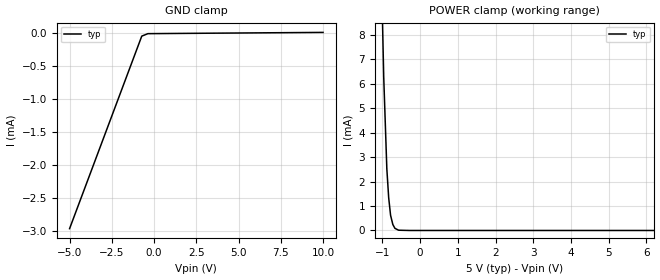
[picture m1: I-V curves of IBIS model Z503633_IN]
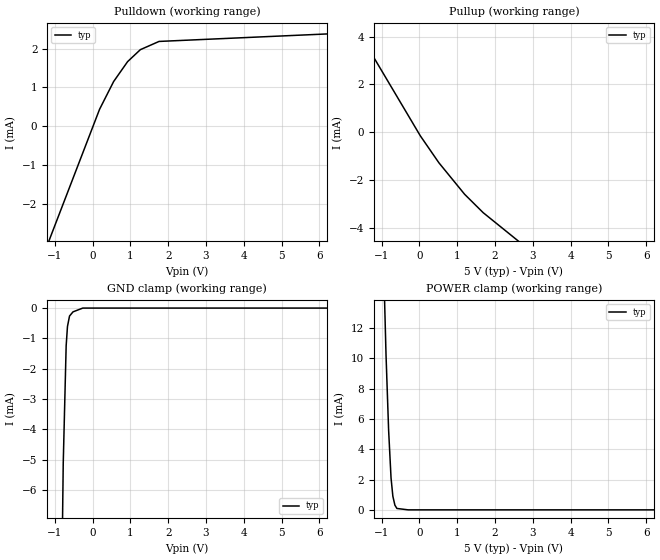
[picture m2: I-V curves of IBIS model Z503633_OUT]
| YOU ARE ONLY AUTHORIZED TO USE THIS SOFTWARE
| ACCORDING TO LICENSOR'S LICENSE RESTRICTIONS.
[IBIS Ver] 3.1
[File Name] mc14519bcl.ibs
[File Rev] 2.0
[Source] Measured and created by ICX Technology
[Date] Friday 7/14/00 9:07:56 AM
[Copyright]
| (C) COPYRIGHT 1993-2000
| MENTOR GRAPHICS CORPORATION
| ICX STANDARD LIBRARY, ICX PROJECT MODELING,
| ICX CUSTOM MODELING, ICX VENDOR MODEL
| ALL RIGHTS RESERVED.
| THE FOLLOWING ARE TRADEMARKS OR SERVICE MARKS OF
| MENTOR GRAPHICS CORPORATION:ICX (R), ICX STANDARD
| LIBRARY(R), ICX PROJECT MODELING(R), ICX CUSTOM
| MODELING(R), qualityIBIS(TM), MODELVIEWER(TM),
| AND MODELEDITOR(TM)
| ALL COPIES OF SOFTWARE, INCLUDING BUT NOT LIMITED TO
| ANY MODIFICATIONS, ENHANCEMENTS OR DERIVATIVE WORKS,
| MUST CONTAIN ALL MENTOR GRAPHICS CORPORATION'S
| NOTICES AND LEGENDS, INCLUDING THOSE EMBEDDED IN
| SOFTWARE AND THOSE AFFIXED TO SOFTWARE MEDIUM
| AND CONTAINER, AS RECEIVED FROM MENTOR GRAPHICS
| CORPORATION.
|  ZAP Model Builder 2.7
[Component] MC14519BCL
[Manufacturer] OnSemiconductor
[Package]
| variable   typ   min   max
R_pkg  .212ohms NA NA
L_pkg  4.758nH NA NA
C_pkg  1.944pF NA NA
[Pin] signal_name  model_name  R_pin  L_pin C_pin
1 Y3 Z503633_IN .224 7.258n 2.683p
2 X2 Z503633_IN .216 5.258n 2.19p
3 Y2 Z503633_IN .208 3.758n 1.697p
4 X1 Z503633_IN .2 2.758n 1.204p
5 Y1 Z503633_IN .2 2.758n 1.204p
6 X0 Z503633_IN .208 3.758n 1.697p
7 Y0 Z503633_IN .216 5.258n 2.19p
8 VSS POWER .224 7.258n 2.683p
9 A Z503633_IN .224 7.258n 2.683p
10 Z0 Z503633_OUT .216 5.258n 2.19p
11 Z1 Z503633_OUT .208 3.758n 1.697p
12 Z2 Z503633_OUT .2 2.758n 1.204p
13 Z3 Z503633_OUT .2 2.758n 1.204p
14 B Z503633_IN .208 3.758n 1.697p
15 X3 Z503633_IN .216 5.258n 2.19p
16 VDD POWER .224 7.258n 2.683p
| Models and submodels in the file (2): Z503633_IN (Input), Z503633_OUT (Output)
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| (C) COPYRIGHT 1993-2000
| MENTOR GRAPHICS CORPORATION
| ICX STANDARD LIBRARY, ICX PROJECT MODELING,
| ICX CUSTOM MODELING, ICX VENDOR MODEL
| ALL RIGHTS RESERVED.
| THE FOLLOWING ARE TRADEMARKS OR SERVICE MARKS OF
| MENTOR GRAPHICS CORPORATION:ICX (R), ICX STANDARD
| LIBRARY(R), ICX PROJECT MODELING(R), ICX CUSTOM
| MODELING(R), qualityIBIS(TM), MODELVIEWER(TM),
| AND MODELEDITOR(TM)
| ALL COPIES OF SOFTWARE, INCLUDING BUT NOT LIMITED TO
| ANY MODIFICATIONS, ENHANCEMENTS OR DERIVATIVE WORKS,
| MUST CONTAIN ALL MENTOR GRAPHICS CORPORATION'S
| NOTICES AND LEGENDS, INCLUDING THOSE EMBEDDED IN
| SOFTWARE AND THOSE AFFIXED TO SOFTWARE MEDIUM
| AND CONTAINER, AS RECEIVED FROM MENTOR GRAPHICS
| CORPORATION.
| Model Application Version 1.89 2/18/99.
[Model] Z503633_IN
Model_type Input
Vinl = 1.500V
Vinh = 3.500V
C_comp 4.000pF NA NA
| variable typ   min   max
[Voltage Range] 5.000V NA NA
[GND Clamp Reference] 0.000V NA NA
[POWER Clamp Reference] 5.000V NA NA
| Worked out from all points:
|   POWER clamp passes 1 mA (typ) near -0.81 V on its own axis
[GND Clamp]
-5V       -2.961mA   NA         NA
-728.6mV  -53.61uA   NA         NA
-364.3mV  -16.06uA   NA         NA
10V       2.879uA    NA         NA
[POWER Clamp]
-5V       290.9mA    NA         NA
-967mV    6.292mA    NA         NA
-884mV    2.52mA     NA         NA
-835mV    1.34mA     NA         NA
-785mV    623.4uA    NA         NA
-725mV    245.1uA    NA         NA
-669mV    86.88uA    NA         NA
-572mV    11.07uA    NA         NA
-286mV    0A         NA         NA
10V       0A         NA         NA
| (C) COPYRIGHT 1993-2000
| MENTOR GRAPHICS CORPORATION
| ICX STANDARD LIBRARY, ICX PROJECT MODELING,
| ICX CUSTOM MODELING, ICX VENDOR MODEL
| ALL RIGHTS RESERVED.
| THE FOLLOWING ARE TRADEMARKS OR SERVICE MARKS OF
| MENTOR GRAPHICS CORPORATION:ICX (R), ICX STANDARD
| LIBRARY(R), ICX PROJECT MODELING(R), ICX CUSTOM
| MODELING(R), qualityIBIS(TM), MODELVIEWER(TM),
| AND MODELEDITOR(TM)
| ALL COPIES OF SOFTWARE, INCLUDING BUT NOT LIMITED TO
| ANY MODIFICATIONS, ENHANCEMENTS OR DERIVATIVE WORKS,
| MUST CONTAIN ALL MENTOR GRAPHICS CORPORATION'S
| NOTICES AND LEGENDS, INCLUDING THOSE EMBEDDED IN
| SOFTWARE AND THOSE AFFIXED TO SOFTWARE MEDIUM
| AND CONTAINER, AS RECEIVED FROM MENTOR GRAPHICS
| CORPORATION.
| Model Application Version 1.89 2/18/99.
[Model] Z503633_OUT
Model_type Output
Vref=0.000V
Rref=500.0Mohms
Cref=50.00pF
Vmeas=2.500V
C_comp 8.000pF NA NA
| variable typ   min   max
[Voltage Range] 5.000V NA NA
[POWER Clamp Reference] 5.000V NA NA
[Pullup Reference] 5.000V NA NA
[Pulldown Reference] 0.000V NA NA
[GND Clamp Reference] 0.000V NA NA
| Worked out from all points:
|   slope of the pulldown table from 0 to 0.75 V, typ, clamps not added: 517 ohm
|   slope of the pullup table from 0 to 0.75 V, typ, clamps not added: 455 ohm
|   GND clamp passes 1 mA (typ) near -0.69 V on its own axis
|   POWER clamp passes 1 mA (typ) near -0.71 V on its own axis
[GND Clamp]
-5V       -431.6mA   NA         NA
-775.7mV  -5.114mA   NA         NA
-698.3mV  -1.241mA   NA         NA
-663.6mV  -605.9uA   NA         NA
-609.1mV  -261.9uA   NA         NA
-516.5mV  -124.4uA   NA         NA
-258.2mV  0A         NA         NA
10V       0A         NA         NA
[Pulldown]
-5V       -12.69mA   NA         NA
185.5mV   438.3uA    NA         NA
557.4mV   1.153mA    NA         NA
927.7mV   1.667mA    NA         NA
1.265V    1.975mA    NA         NA
1.759V    2.187mA    NA         NA
10V       2.545mA    NA         NA
[Pullup]
-5V       13.25mA    NA         NA
24mV      -157.7uA   NA         NA
515mV     -1.286mA   NA         NA
1.197V    -2.609mA   NA         NA
1.687V    -3.378mA   NA         NA
10V       -14.01mA   NA         NA
[POWER Clamp]
-5V       398mA      NA         NA
-884mV    10.25mA    NA         NA
-815mV    5.246mA    NA         NA
-751mV    2.106mA    NA         NA
-703mV    898.9uA    NA         NA
-649mV    308uA      NA         NA
-596mV    92.39uA    NA         NA
-298mV    0A         NA         NA
10V       0A         NA         NA
[Ramp]
| variable typ min max
dV/dt_r 2.554/20.30n NA NA
dV/dt_f 2.554/30.00n NA NA
R_load = 2.500kOhms
